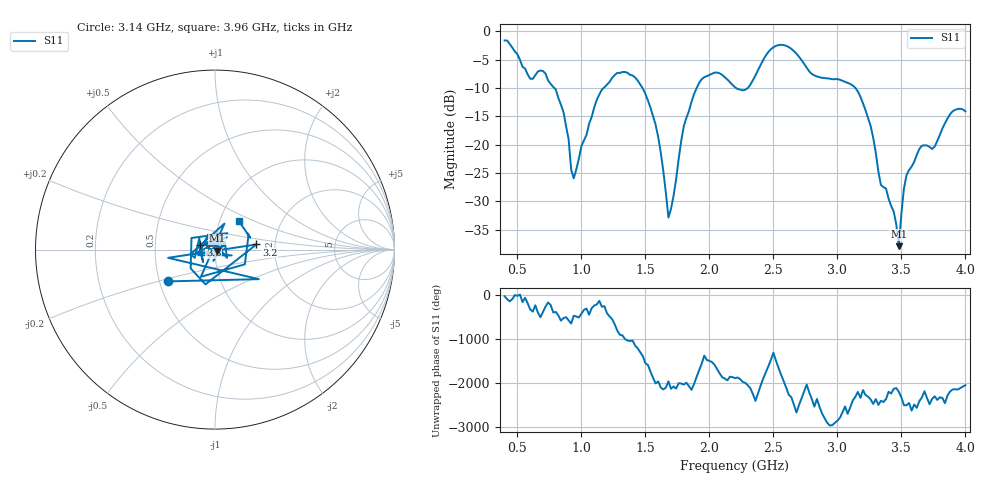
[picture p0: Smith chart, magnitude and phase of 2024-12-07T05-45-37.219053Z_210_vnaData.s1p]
!Created with skrf (http://scikit-rf.org).
# Hz S RI R 50.0
!freq ReS11 ImS11
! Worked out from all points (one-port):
!   181 points, 400 MHz to 4 GHz, reference 50 ohm
!   lowest |S11| = -37.9 dB at 3.48 GHz (marker M1), VSWR 1.03, Z = 51.1 - j0.698 ohm
!   |S11| at or under -10 dB: 789 MHz to 1.173 GHz (384 MHz wide, 39.1 % of centre); 1.478 GHz to 1.9 GHz (422.3 MHz wide, 25 % of centre); 3.142 GHz to end of sweep (the widest 3 of 4)
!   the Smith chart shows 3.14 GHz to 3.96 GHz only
!   S11 on the Smith chart (normalised r, x): 3.14 GHz: 0.55, -0.22; 3.2 GHz: 1.60, +0.10; 3.3 GHz: 0.85, +0.04; 3.96 GHz: 1.23, +0.41
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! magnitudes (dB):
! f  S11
! 400 MHz  -1.6
! 600 MHz  -8.3
! 720 MHz  -7.5
! 860 MHz  -14.2
! 940 MHz  -25.9
! 1.12 GHz  -12.1
! 1.3 GHz  -7.3
! 1.54 GHz  -13.5
! 1.62 GHz  -21.4
! 1.68 GHz  -32.9
! 1.76 GHz  -22.5
! 1.8 GHz  -16.7
! 1.94 GHz  -8.4
! 2.2 GHz  -9.8
! 2.3 GHz  -10.0
! 2.5 GHz  -2.8
! 2.66 GHz  -3.5
! 3.1 GHz  -9.3
! 3.14 GHz  -9.9
! 3.2 GHz  -12.7
! 3.3 GHz  -21.4
! 3.34 GHz  -27.1
! 3.44 GHz  -31.8
! 3.48 GHz  -37.9
! 3.52 GHz  -27.7
! 3.56 GHz  -24.5
! 3.96 GHz  -13.6
! 4 GHz  -14.1
